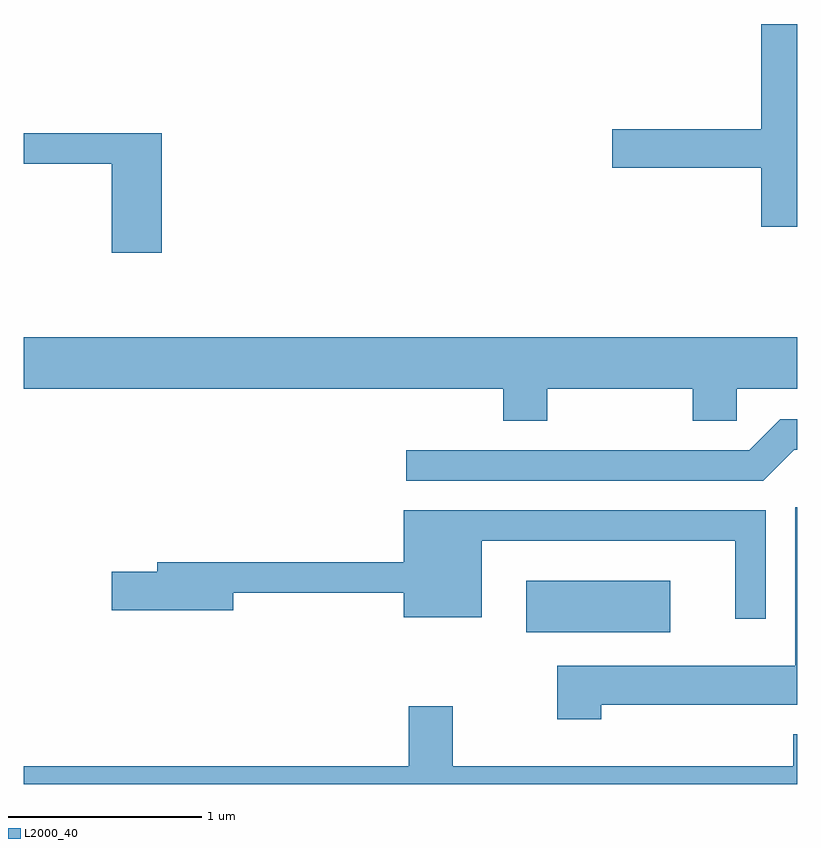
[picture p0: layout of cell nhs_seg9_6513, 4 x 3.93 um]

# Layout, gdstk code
import gdstk
lib = gdstk.Library(unit=1e-6, precision=1e-09)
def R(c, l, rs):  # rectangles x0, y0, x1, y1
    for r in rs: c.add(gdstk.rectangle(r[:2], r[2:], *l))
def P(c, l, *ps):  # polygons
    for p in ps: c.add(gdstk.Polygon(p, *l))
L2000_40 = (2000, 40)

nhs_seg9_6513 = lib.new_cell('nhs_seg9_6513')
R(nhs_seg9_6513, L2000_40, [(380.211,1997.216,380.954,1997.484)])
P(nhs_seg9_6513, L2000_40, [(381.611,2000.364),(381.426,2000.364),(381.426,1999.819),(380.656,1999.819),(380.656,1999.621),(381.426,1999.621),(381.426,1999.316),(381.611,1999.316)],
  [(378.324,1999.799),(377.611,1999.799),(377.611,1999.641),(378.066,1999.641),(378.066,1999.181),(378.324,1999.181)],
  [(380.319,1998.476),(381.071,1998.476),(381.071,1998.311),(381.299,1998.311),(381.299,1998.476),(381.611,1998.476),(381.611,1998.744),(377.611,1998.744),(377.611,1998.476),(380.091,1998.476),(380.091,1998.311),(380.319,1998.311)],
  [(381.597,1998.161),(381.611,1998.161),(381.611,1998.319),(381.524,1998.319),(381.364,1998.159),(379.588,1998.159),(379.588,1998.001),(381.437,1998.001)],
  [(380.599,1996.841),(381.611,1996.841),(381.611,1997.864),(381.601,1997.864),(381.601,1997.044),(380.371,1997.044),(380.371,1996.766),(380.599,1996.766)],
  [(381.449,1997.849),(379.576,1997.849),(379.576,1997.579),(378.301,1997.579),(378.301,1997.529),(378.066,1997.529),(378.066,1997.331),(378.694,1997.331),(378.694,1997.421),(379.576,1997.421),(379.576,1997.296),(379.979,1997.296),(379.979,1997.691),(381.291,1997.691),(381.291,1997.288),(381.449,1997.288)],
  [(381.611,1996.689),(381.591,1996.689),(381.591,1996.524),(379.829,1996.524),(379.829,1996.834),(379.601,1996.834),(379.601,1996.524),(377.611,1996.524),(377.611,1996.432),(381.611,1996.432)])

lib.write_gds('nhs_seg9_6513.gds')
